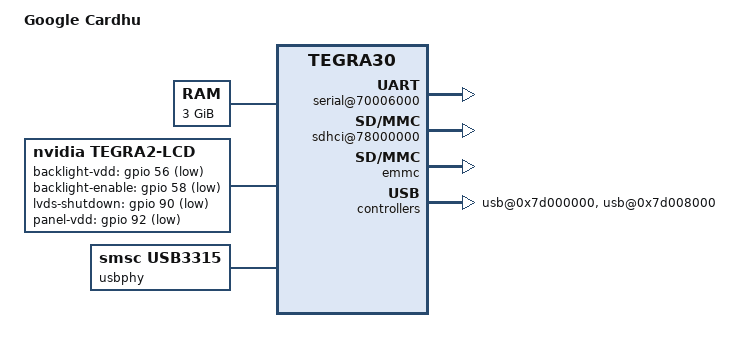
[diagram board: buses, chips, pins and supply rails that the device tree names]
/dts-v1/;

/memreserve/ 0x1c000000 0x04000000;
/include/ "tegra30.dtsi"

/ {
	model = "Google Cardhu";
	compatible = "google,cardhu", "nvidia,tegra30";

	config {
		silent_console = <0>;
		odmdata = <0x300d8011>;
		hwid = "ARM CARDHU TEST 6666";
		machine-arch-id = <3436>;
	};

	aliases {
		console = "/serial@70006000";
                usb0 = "/usb@0x7d008000";
                usb1 = "/usb@0x7d000000";

		sdmmc0 = "/sdhci@78000600";
		sdmmc1 = "/sdhci@78000000";

		i2c0 = "/i2c@0x7000d000";
		i2c1 = "/i2c@0x7000c000";
		i2c2 = "/i2c@0x7000c400";
		i2c3 = "/i2c@0x7000c500";
		i2c4 = "/i2c@0x7000c700";
	};

	chosen {
		bootargs = "";
		serial = <0x0c5b0a02 0x04450500>; /* board serial number */
	};

	memory {
		device_type = "memory";
		reg = <0x80000000 0xc0000000>;
	};

	serial@70006000 {
		status = "ok";
		/*
		 * TBD - use CONFIG_SYS_PLLP_BASE_IS_408MHZ somehow here.
		 * Currently I put this back to 216MHz in fdt_decode.c
		 */
		clock-frequency = <408000000>;
	};

	/* External SD card - SDMMC1 */
	sdhci@78000000 {
		status = "ok";
		width = <4>;	/* width of SDIO port */
		removable = <1>;
		/* Parameter 3 bit 0:1=output, 0=input; bit 1:1=high, 0=low */
		cd-gpio = <&gpio 69 0>; /* card detect, GMI_IORDY => I.05 */
		wp-gpio = <&gpio 155 0>; /* write protect, VI_D11 => T.03 */
		power-gpio = <&gpio 31 3>; /* power enable, VI_HSYNC => D.07 */
	};

	/* Internal eMMC - SDMMC4 */
	emmc: sdhci@78000600 {
		status = "ok";
		width = <4>;	/* width of SDIO port */
		removable = <0>;
	};

	lcd {
		compatible = "nvidia,tegra2-lcd";
		width = <1366>;
		height = <768>;
		bits_per_pixel = <16>;
		pwfm = <&pwfm0>;
		display = <&display1>;
		frame-buffer = <0x1C022000>;

		pixel_clock = <68000000>;

		/* Timing: ref_to_sync, sync_width. back_porch, front_porch */
		horiz_timing = <0 30 52 64>;
		vert_timing = <12 5 20 25>;

		/* Parameter 3 bit 0:1=output, 0=input; bit 1:1=high, 0=low */
		backlight-vdd = <&gpio 56 3>;		/* PH0, LCD1_BL_PWM */
		backlight-enable = <&gpio 58 3>;	/* PH2, LCD1_BL_EN */
		lvds-shutdown = <&gpio 90 3>;		/* PL2, LVDS1_SHTDN */
		panel-vdd = <&gpio 92 3>;		/* PL4, EN_VDD_PNL1 */

		/*
		 * Panel required timings
		 * Timing 1: delay between panel_vdd-rise and data-rise
		 * Timing 2: delay between data-rise and backlight_vdd-rise
		 * Timing 3: delay between backlight_vdd and pwm-rise
		 */

		panel-timings = <0 0 0 0>;
	};

	usb@0x7d000000 {
		status = "ok";
		host-mode = <1>;
		vbus-pullup-gpio = <&gpio 233 3>;	/* PDD1, EN_3V3_PU */
	};

	usbphy: usbphy@0 {
		compatible = "smsc,usb3315";
		status = "ok";
	};

	usb@0x7d008000 {
		status = "ok";
		utmi = <&usbphy>;
		host-mode = <0>;
	};
};
